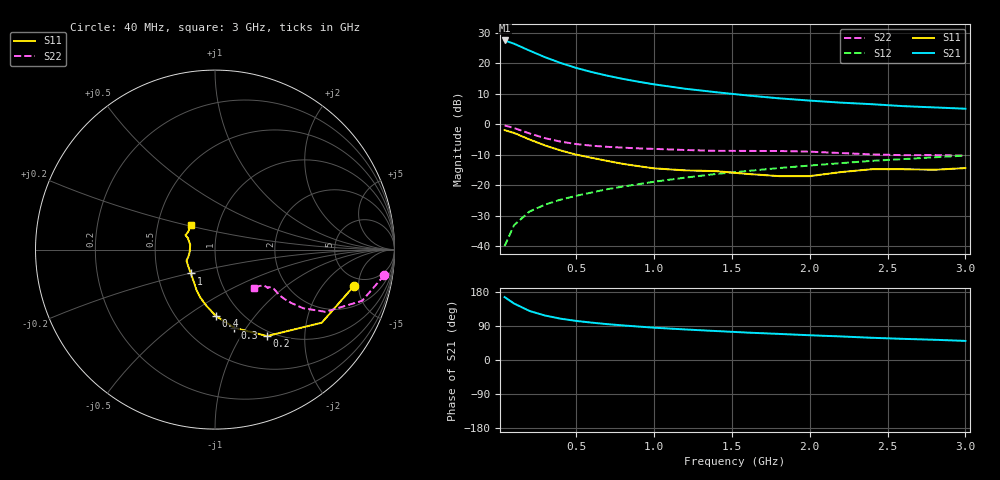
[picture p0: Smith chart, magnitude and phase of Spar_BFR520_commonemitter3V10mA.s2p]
! Filename:  BFR520C.S2P  Version:  2.1
! NXP part #: BFR520  Date: Sep 1991
! Bias condition: Vce=3V, Ic=10mA
#  MHz  S  MA  R  50
! Freq  S11  S21  S12  S22  !GUM [dB]
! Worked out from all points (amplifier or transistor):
!   21 points, 40 MHz to 3 GHz, reference 50 ohm
!   highest |S21| = 27.5 dB at 40 MHz (marker M1)
!   |S21| within 3 dB of that: start of sweep to 185.4 MHz
!   unconditionally stable (mu >= 1): 1.093 GHz to end of sweep
!   at 300 MHz: K = 0.63, MSG = 24.2 dB, |S12| = -26.4 dB
!   at 1 GHz: K = 0.99, MSG = 16.0 dB, |S12| = -18.9 dB
!   at 3 GHz: K = 1.02, MAG = 6.9 dB, |S12| = -10.3 dB
!   lowest NFmin = 1.10 dB at 500 MHz
!   S11 on the Smith chart (normalised r, x): 40 MHz: 3.90, -4.40; 200 MHz: 0.93, -1.31; 300 MHz: 0.81, -0.89; 400 MHz: 0.77, -0.66; 1 GHz: 0.74, -0.20; 3 GHz: 0.74, +0.21
40  0.8 -14.7  23.66 166.0  0.01 82.8  0.954 -8.6
100  0.721 -34.4  20.96 149.2  0.022 73.2  0.868 -19.2
200  0.562 -59.0  16.12 129.4  0.037 66.8  0.706 -29.4
300  0.449 -76.0  12.57 117.3  0.048 65.3  0.591 -33.6
400  0.371 -89.1  10.11 109.0  0.058 64.7  0.518 -35.0
500  0.317 -98.6  8.387 103.1  0.067 65.9  0.473 -35.4
600  0.281 -106.6  7.17 98.6  0.076 66.7  0.444 -35.3
700  0.25 -114.1  6.255 94.6  0.086 67.9  0.426 -34.9
800  0.224 -120.3  5.539 91.3  0.095 68.7  0.413 -34.4
900  0.205 -127.3  4.978 88.2  0.104 69.1  0.402 -34.0
1000  0.189 -135.3  4.509 85.3  0.114 69.6  0.394 -33.7
1200  0.175 -149.0  3.823 80.6  0.133 69.9  0.378 -33.7
1400  0.17 -159.0  3.348 76.4  0.153 69.8  0.366 -34.9
1600  0.153 -165.3  2.965 72.3  0.171 69.6  0.365 -35.3
1800  0.141 -175.6  2.665 68.9  0.191 69.4  0.364 -36.1
2000  0.141 168.5  2.441 65.3  0.21 68.5  0.355 -35.9
2200  0.164 157.0  2.261 62.2  0.23 67.8  0.337 -36.5
2400  0.183 154.0  2.131 58.6  0.251 66.7  0.32 -39.3
2600  0.183 153.6  1.981 55.8  0.268 65.5  0.311 -43.0
2800  0.179 146.7  1.888 53.4  0.287 64.9  0.312 -45.0
3000  0.191 135.1  1.797 50.4  0.306 63.7  0.305 -44.8
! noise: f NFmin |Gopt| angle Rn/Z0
500  1.1  0.262  25  0.22
900  1.25  0.217  46  0.21
1000  1.3  0.212  48  0.23
2000  1.9  0.159  167  0.15
